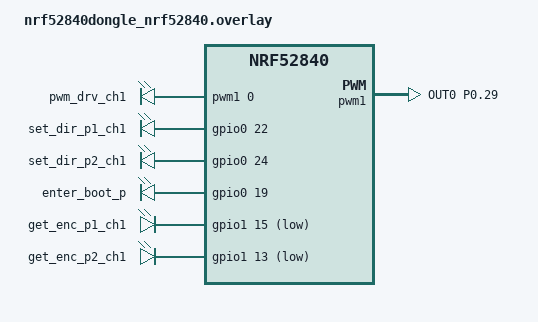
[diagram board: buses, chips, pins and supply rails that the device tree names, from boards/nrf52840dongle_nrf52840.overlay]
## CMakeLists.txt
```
# SPDX-License-Identifier: Apache-2.0

cmake_minimum_required(VERSION 3.20.0)
find_package(Zephyr REQUIRED HINTS $ENV{ZEPHYR_BASE})
project(MotorController)

target_include_directories(app PRIVATE
     "src" "include"
)

file(GLOB SRC_files
     "src/*.c"
)

file(GLOB INC_files
     "include/*.c"
     "include/**/*.c"
)

target_sources(app PRIVATE ${SRC_files} ${INC_files})

if ( CMAKE_COMPILER_IS_GNUCC )
     if ( CMAKE_C_COMPILER_VERSION LESS 13 )
          target_compile_options(app PRIVATE -Wno-unknown-pragmas)
     endif ()
endif ()
```

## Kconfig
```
# SPDX-License-Identifier: Apache-2.0
#
# Copyright (c) 2023 Maciej Baczmanski, Michal Kawiak, Jakub Mazur
#

menu "Motor controller configuration"

config ENC_TIMER_PERIOD_MS
	int "Sampling period for continuous speed and position calculation"
	default 100

config SUPPORTED_CHANNEL_NUMBER
	int "number of motor channels supported by the hardware"
	default 2

rsource "Kconfigs/Kconfig.motor"
rsource "Kconfigs/Kconfig.serial_shell"
rsource "Kconfigs/Kconfig.ble_gatt"
rsource "Kconfigs/Kconfig.templates"

rsource "Kconfigs/Kconfig.speed_cntrl"
rsource "Kconfigs/Kconfig.position_cntrl"

endmenu

source "Kconfig.zephyr"
```

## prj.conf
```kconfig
# SPDX-License-Identifier: Apache-2.0
#
# Copyright (c) 2023 Maciej Baczmanski, Michal Kawiak, Jakub Mazur
#

CONFIG_ASSERT=y
CONFIG_SHELL=y

CONFIG_GPIO=y
CONFIG_PWM=y
CONFIG_PWM_SHELL=n

# For Printk()
CONFIG_PRINTK=y
CONFIG_CONSOLE=y

# NVS
CONFIG_FLASH=y
CONFIG_FLASH_PAGE_LAYOUT=y
CONFIG_NVS=y
CONFIG_MPU_ALLOW_FLASH_WRITE=y

# Communication protocols
CONFIG_UART_SHELL_SUPPORT=y
CONFIG_BT_SUPPORT=y

CONFIG_SPEED_CONTROL_ENABLE=y
CONFIG_POS_CONTROL_ENABLE=y
```

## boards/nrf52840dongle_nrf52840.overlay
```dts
&uart0 {
	status="disabled";
};


/ {
	pwmdrv {
		compatible = "pwm-leds";
		pwm_drv_ch1: pwm_drv_ch1 {
			pwms = <&pwm1 0 PWM_MSEC(20) 0>;
		};
	};

	gpio_pins {
		compatible = "gpio-leds";
		set_dir_p1_ch1: set_dir_p1_ch1 {
			gpios = <&gpio0 22 GPIO_ACTIVE_HIGH>;
		};

		set_dir_p2_ch1: set_dir_p2_ch1 {
			gpios = <&gpio0 24 GPIO_ACTIVE_HIGH>;
		};

		enter_boot_p: enter_boot_p {
			gpios = <&gpio0 19 GPIO_ACTIVE_HIGH>;
		};

		get_enc_p1_ch1: get_enc_p1_ch1 {
			gpios = <&gpio1 15 (GPIO_PULL_UP | GPIO_ACTIVE_LOW)>;
		};

		get_enc_p2_ch1: get_enc_p2_ch1 {
			gpios = <&gpio1 13 (GPIO_PULL_UP | GPIO_ACTIVE_LOW)>;
		};
	};

	aliases {
		pwm-drv-ch1 = &pwm_drv_ch1;
		set-dir-p1-ch1 = &set_dir_p1_ch1;
		set-dir-p2-ch1 = &set_dir_p2_ch1;
		enter-boot-p = &enter_boot_p;
		get-enc-p1-ch1 = &get_enc_p1_ch1;
		get-enc-p2-ch1 = &get_enc_p2_ch1;
	};

};

&pinctrl{
	pwm1_default: pwm1_default {
		group1 {
			psels = <NRF_PSEL(PWM_OUT0, 0, 29)>;
			nordic,invert;
		};
	};
	pwm1_sleep: pwm1_sleep {
		group1 {
			psels = <NRF_PSEL(PWM_OUT0, 0, 29)>;
			low-power-enable;
		};
	};
};

&pwm1 {
	status = "okay";
	pinctrl-0 = <&pwm1_default>;
	pinctrl-1 = <&pwm1_sleep>;
	pinctrl-names = "default", "sleep";

};
```

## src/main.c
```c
// SPDX-License-Identifier: Apache-2.0
// Copyright (c) 2023 Maciej Baczmanski, Michal Kawiak, Jakub Mazur

#include <zephyr/kernel.h>

#include <zephyr/usb/usb_device.h>

#if defined(CONFIG_BT_SUPPORT)
#include "ble_gatt_service.h"
#endif

#include <string.h>

#include "driver.h"
#include "storage.h"

#if defined(CONFIG_UART_SHELL_SUPPORT)
#include <zephyr/drivers/uart.h>
#endif

int main(void)
{
	init_pwm_motor_driver();
#if defined(CONFIG_TEMPLATES_ENABLE)
	struct Template initial_template;
	return_codes_t error = SUCCESS;

	init_storage();
	error = get_current_template(&initial_template);

	if (error == SUCCESS) {// TODO - test it, currently broken by init controller.
		target_speed_set(initial_template.speed, CH0);
	}
#endif

	#if defined(CONFIG_BT_SUPPORT)
	init_bt();
	#endif
}
```

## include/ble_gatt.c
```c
// SPDX-License-Identifier: Apache-2.0
// Copyright (c) 2023 Maciej Baczmanski, Michal Kawiak, Jakub Mazur
// Copyright (c) 2016 Intel Corporation
#if defined(CONFIG_BT_SUPPORT)
// TODO - move define wrappers to CMakeLists. If whole is not to be compiled, make rule in CMAKE

#include "driver.h"
#include "storage.h"
#include <stdlib.h>

#include <zephyr/kernel.h>
#include <zephyr/bluetooth/gatt.h>
#include "ble_gatt_service.h"
#include "return_codes.h"

#define UUID_GENERATOR(val)	BT_UUID_DECLARE_128(BT_UUID_128_ENCODE(val,		\
								       0x37de,		\
								       0x44d4,		\
								       0xbe45,		\
								       0xd1f1fd9385fd))


#define TX_CHAR_UUID_COMMAND		UUID_GENERATOR(0x6e006610)
#define RX_CHAR_UUID_TEMPL_LIST		UUID_GENERATOR(0x6e006620)
#define RX_CHAR_UUID_TEMPL_ACTIVE	UUID_GENERATOR(0x6e006621)
#define RX_CHAR_UUID_SPEED		UUID_GENERATOR(0x6e006622)
#define RX_CHAR_UUID_HW_VER		UUID_GENERATOR(0x6e006623)


//TODO - implement paging for more than 15 templates in the future

#if defined(CONFIG_TEMPLATES_ENABLE)

static ssize_t read_ble_template_list(struct bt_conn *conn, const struct bt_gatt_attr *attr,
			 void *buf, uint16_t len, uint16_t offset)
{
	ssize_t ret;
	char *buffer;
	uint8_t template_count = get_template_size();
	size_t frame_size = template_count * (sizeof(uint32_t) + CONFIG_TEMPLATE_NAME_SIZE) + 4;

	buffer = (char *)calloc(frame_size, sizeof(char));

	buffer[0] = frame_size;
	buffer[1] = 0; //page number
	buffer[2] = (char)template_count;
	buffer[3] = CONFIG_TEMPLATE_NAME_SIZE;

	(void)get_templates((struct Template *)&buffer[4]);

	ret = bt_gatt_attr_read(conn, attr, buf, len, offset, buffer,
				 frame_size);
	free(buffer);
	return ret;
}

static ssize_t read_ble_template_active(struct bt_conn *conn, const struct bt_gatt_attr *attr,
			 void *buf, uint16_t len, uint16_t offset)
{
	struct Template current;
	(void)get_current_template(&current);

	return bt_gatt_attr_read(conn, attr, buf, len, offset, &current,
				 sizeof(current));
}
#endif

static ssize_t read_ble_speed(struct bt_conn *conn, const struct bt_gatt_attr *attr,
			 void *buf, uint16_t len, uint16_t offset)
{
	uint32_t speed_tmp = speed_target_get(CH0);

	return bt_gatt_attr_read(conn, attr, buf, len, offset, &speed_tmp,
				 sizeof(speed_tmp));
}

static ssize_t read_ble_hw_ver(struct bt_conn *conn, const struct bt_gatt_attr *attr,
			 void *buf, uint16_t len, uint16_t offset)
{
	struct DriverVersion tmp_ver = get_driver_version();

	return bt_gatt_attr_read(conn, attr, buf, len, offset, &tmp_ver,
				 sizeof(tmp_ver));
}

uint32_t convertToUint32(uint8_t *bytes)
{
	uint32_t result = 0;

	memcpy(&result, bytes, 4U);

	// swap endianness
	result = ((result << 8) & 0xFF00FF00) | ((result >> 8) & 0xFF00FF);
	return (result << 16) | (result >> 16);
}

static ssize_t write_ble(struct bt_conn *conn, const struct bt_gatt_attr *attr,
			 const void *buf, uint16_t len, uint16_t offset, uint8_t flag)
{
	uint8_t *data = (uint8_t *)buf;
#if defined(CONFIG_TEMPLATES_ENABLE)
	struct Template template;
	char *name;
#endif

	switch (data[0]) {
#if defined(CONFIG_BOARD_NRF52840DONGLE_NRF52840)
	case 0:
		enter_boot();
	break;
#endif
#if defined(CONFIG_SPEED_CONTROL_ENABLE)
	case 1: // set raw speed
		(void)target_speed_set(convertToUint32(data+1U), CH0);
	break;
#endif
#if defined(CONFIG_TEMPLATES_ENABLE)
	case 2: // add template
		name = (char *)(data + 1U);
		strcpy(template.name, name);
		template.speed = convertToUint32(name + CONFIG_TEMPLATE_NAME_SIZE);
		set_template(template);

	break;
	case 3: // delete template
		name = (char *)(data+1U);
		(void)remove_template_by_name(name);
	break;
	case 4: //activate template
		return_codes_t ret;
		uint8_t out_temp; // TODO - necessary?

		ret = get_template_and_id_by_name(data+1U, &template, &out_temp);

		if (ret != SUCCESS) {
			break;
		}

		ret = target_speed_set(template.speed, CH0);

		if (ret != SUCCESS) {
			break;
		}
		set_current_template(template.name);
	break;
#endif
	}
	memset(data, 0, len * (sizeof(data[0])));
	return len;
}


BT_GATT_SERVICE_DEFINE(hrs_svc,
	BT_GATT_PRIMARY_SERVICE(BT_UUID_DECLARE_128(SERVICE_UUID)),
#if defined(CONFIG_TEMPLATES_ENABLE)
	BT_GATT_CHARACTERISTIC(RX_CHAR_UUID_TEMPL_LIST, BT_GATT_CHRC_READ,
			       BT_GATT_PERM_READ,
			       read_ble_template_list, NULL, NULL),
	BT_GATT_CHARACTERISTIC(RX_CHAR_UUID_TEMPL_ACTIVE, BT_GATT_CHRC_READ,
			       BT_GATT_PERM_READ,
			       read_ble_template_active, NULL, NULL),
#endif
	BT_GATT_CHARACTERISTIC(RX_CHAR_UUID_SPEED, BT_GATT_CHRC_READ,
			       BT_GATT_PERM_READ,
			       read_ble_speed, NULL, NULL),
	BT_GATT_CHARACTERISTIC(RX_CHAR_UUID_HW_VER, BT_GATT_CHRC_READ,
			       BT_GATT_PERM_READ,
			       read_ble_hw_ver, NULL, NULL),
	BT_GATT_CHARACTERISTIC(TX_CHAR_UUID_COMMAND, BT_GATT_CHRC_WRITE,
			       BT_GATT_PERM_WRITE,
			       NULL, write_ble, NULL),
);

#endif
```

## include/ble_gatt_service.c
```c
// SPDX-License-Identifier: Apache-2.0
// Copyright (c) 2023 Maciej Baczmanski, Michal Kawiak, Jakub Mazur
// Copyright (c) 2015-2016 Intel Corporation

#if defined(CONFIG_BT_SUPPORT)

#include <zephyr/kernel.h>
#include <zephyr/bluetooth/gatt.h>

#include "ble_gatt_service.h"
static const struct bt_data ad[] = {
	BT_DATA_BYTES(BT_DATA_FLAGS, (BT_LE_AD_GENERAL | BT_LE_AD_NO_BREDR)),
	BT_DATA_BYTES(BT_DATA_UUID128_ALL, SERVICE_UUID)};

static void connected(struct bt_conn *conn, uint8_t err)
{
	if (err) {
		printk("Connection failed (err 0x%02x)\n", err);
	} else {
		printk("Connected\n");
	}
}

static void disconnected(struct bt_conn *conn, uint8_t reason)
{
	printk("Disconnected (reason 0x%02x)\n", reason);
}

BT_CONN_CB_DEFINE(conn_callbacks) = {
	.connected = connected,
	.disconnected = disconnected,
};

static void bt_ready(void)
{
	int err;

	printk("Bluetooth initialized\n");

	err = bt_le_adv_start(BT_LE_ADV_CONN_NAME, ad, ARRAY_SIZE(ad), NULL, 0);
	if (err) {
		printk("Advertising failed to start (err %d)\n", err);
		return;
	}

	printk("Advertising successfully started\n");
}

static void auth_cancel(struct bt_conn *conn)
{
	char addr[BT_ADDR_LE_STR_LEN];

	bt_addr_le_to_str(bt_conn_get_dst(conn), addr, sizeof(addr));

	printk("Pairing cancelled: %s\n", addr);
}

static struct bt_conn_auth_cb auth_cb_display = {
	.cancel = auth_cancel,
};

int init_bt(void)
{
	int err;

	err = bt_enable(NULL);
	if (err) {
		printk("Bluetooth init failed (err %d)\n", err);
		return -1;
	}

	bt_ready();

	bt_conn_auth_cb_register(&auth_cb_display);
	return 0;
}


#endif
```

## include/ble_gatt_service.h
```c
/* SPDX-License-Identifier: Apache-2.0
 *
 * Copyright (c) 2023 Maciej Baczmanski, Michal Kawiak, Jakub Mazur
 *
 * Copyright (c) 2015-2016 Intel Corporation
 *
 */

#if defined(CONFIG_BT_SUPPORT)
#define SERVICE_UUID    BT_UUID_128_ENCODE(0x491ee7f9, 0xb307, 0x4a19, 0x8932, 0x2a8bb514ac46)

int init_bt(void);
#endif
```

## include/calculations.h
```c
/* SPDX-License-Identifier: Apache-2.0
 *
 * Copyright (c) 2024 Maciej Baczmanski, Jakub Mazur
 */

#define DEGREES_PER_ROTATION (360u * CONFIG_POSITION_CONTROL_MODIFIER)
#define DEGREES_PER_HALF_ROTATION (180u * CONFIG_POSITION_CONTROL_MODIFIER)

struct PID_def {
	const uint32_t Kp_numerator;
	const uint32_t Kp_denominator;

	const uint32_t Ki_numerator;
	const uint32_t Ki_denominator;

	const uint32_t Kd_numerator;
	const uint32_t Kd_denominator;

	int32_t i_temp; // error accumulator
	int32_t d_temp; // prev error

	int32_t i_min;
	int32_t i_max;
};

#if defined(CONFIG_SPEED_CONTROL_ENABLE)
struct PID_def PID_spd = {
	.Kp_numerator = CONFIG_KP_NUMERATOR_FOR_SPEED,
	.Kp_denominator = CONFIG_KP_DENOMINATOR_FOR_SPEED,

	.Ki_numerator = 0,
	.Ki_denominator = 1,

	.Kd_numerator = 0,
	.Kd_denominator = 1,

	.i_temp = 0,
	.d_temp = 0,

	.i_min = -1000,
	.i_max = 5000,
};
#endif

#if defined(CONFIG_POS_CONTROL_ENABLE)
struct PID_def PID_spd_for_pos = {
	.Kp_numerator = CONFIG_KP_NUMERATOR_FOR_SPEED_IN_POS,
	.Kp_denominator = CONFIG_KP_DENOMINATOR_FOR_SPEED_IN_POS,

	.Ki_numerator = 0,
	.Ki_denominator = 1,

	.Kd_numerator = 0,
	.Kd_denominator = 1,

	.i_temp = 0,
	.d_temp = 0,

	.i_min = -1000,
	.i_max = 5000,
};

struct PID_def PID_pos = {
	.Kp_numerator = CONFIG_KP_NUMERATOR_FOR_POS,
	.Kp_denominator = CONFIG_KP_DENOMINATOR_FOR_POS,

	.Ki_numerator = 0,
	.Ki_denominator = 1,

	.Kd_numerator = 0,
	.Kd_denominator = 1,

	.i_temp = 0,
	.d_temp = 0,

	.i_min = -500,
	.i_max = 500,
};
#endif

static inline int32_t calculate_pid_from_error(int32_t error, struct PID_def *pid)
{
	int32_t P = ((int32_t)(((int32_t)pid->Kp_numerator * error) /
				(int32_t)pid->Kp_denominator));
	pid->i_temp = pid->i_temp + error;
	if (pid->i_temp < pid->i_min)
		pid->i_temp = pid->i_min;
	if (pid->i_temp < pid->i_max)
		pid->i_temp = pid->i_max;
	int32_t I = ((int32_t)((int32_t)pid->Ki_numerator * pid->i_temp /
			       (int32_t)pid->Ki_denominator));
	int32_t D = ((int32_t)((int32_t)pid->Kd_numerator * (int32_t)(pid->d_temp - error) /
			       (int32_t)pid->Kd_denominator));
	pid->d_temp = error;
	return P + I + D;
}

static inline int32_t calculate_pid(int32_t target_speed, int32_t actual_speed, struct PID_def *pid)
{
	return calculate_pid_from_error((int32_t)(target_speed - actual_speed), pid);
}


/// Unit replacement - interrupt counter to degrees
#define INTERRUPT_COUNT_TO_DEG_DIFF(diff) \
	(int32_t)((diff*(int32_t)DEGREES_PER_ROTATION) /\
		  (CONFIG_ENC_STEPS_PER_ROTATION * CONFIG_GEARSHIFT_RATIO))

/// Calculate new position (int32_t) based on:
/// - previous position (drv_chnls[chnl].curr_pos, uint32_t)
/// - position difference (in degrees, int32_t)
#define CALC_NEW_POS(pos_diff_in_deg, chnl) \
	(int32_t)(((int32_t)drv_chnls[chnl].curr_pos) + pos_diff_in_deg)

/// Wrap position to range 0-360 degree
#define WRAP_POS_TO_RANGE(new_pos) \
	(uint32_t)((new_pos % (int32_t)DEGREES_PER_ROTATION) + \
		   ((new_pos < 0) ? (int32_t)DEGREES_PER_ROTATION : 0))
```

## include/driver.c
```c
// SPDX-License-Identifier: Apache-2.0
// Copyright (c) 2023 Maciej Baczmanski, Michal Kawiak, Jakub Mazur

#include <zephyr/drivers/gpio.h>
#include <zephyr/drivers/pwm.h>
#include <zephyr/types.h>
#include <string.h>
#include <stdlib.h>
#include "return_codes.h"
#include "driver.h"

#include "calculations.h"

/// Unit conversion defines
#define MIN_TO_MS 60000
#define RPM_TO_MRPM 1000

#define PINS_PER_CHANNEL 2

#define MINIMUM_SPEED (CONFIG_SPEED_MAX_MRPM / CONFIG_MIN_SPEED_MODIFIER)

static const struct DriverVersion driver_ver = {
	.major = 2,
	.minor = 5,
};

/// temporary debug only variables: - To be deleted after developemnt is finished!
static uint64_t count_timer;
static int32_t ret_debug = 100;// DEBUG ONLY

#pragma region InternalFunctions// declarations of internal functions
static void enc_callback_wrapper(const struct device *dev, struct gpio_callback *cb, uint32_t pins);
static int speed_pwm_set(uint32_t value, enum ChannelNumber chnl);
static void update_speed_and_position_continuous(struct k_work *work);
static void continuous_calculation_timer_handler(struct k_timer *dummy);
static void enc_callback(enum ChannelNumber chnl, enum PinNumber pin);
static int set_direction_raw(enum MotorDirection direction, enum ChannelNumber chnl);
#pragma endregion InternalFunctions

/// CONTROL MODE - whether speed or position is controlled
static enum ControlModes control_mode;
/// encoder timer - timer is common for both channels
struct k_timer continuous_calculation_timer;
/// driver initialized (Was init function called)?
static bool drv_initialised;

// Struct representing singular channel, including channel - dependent variables
struct DriverChannel {
	/// PINS definitions
	/// motor out
	const struct pwm_dt_spec pwm_motor_driver;
	const struct gpio_dt_spec set_dir_pins[PINS_PER_CHANNEL];
	/// enc in
	const struct gpio_dt_spec enc_pins[PINS_PER_CHANNEL];
	struct gpio_callback enc_cb[PINS_PER_CHANNEL];

	/// ENCODER - variables used for actual speed calculation based on encoder pin and
	// timer interrupts
	// TODO - mutex locking instead of volatile?
	int64_t count_cycles;
	int64_t old_count_cycles;

	/// SPEED control
	uint32_t target_speed_mrpm;// Target set by user
	uint32_t actual_mrpm; // actual speed calculated from encoder pins
	uint32_t speed_control; // PID output -> pwm calculations input

	// TODO - separe target_speed_mrpm and speed_control for position control
	// from speed control!

	/// POSITION control
	uint32_t curr_pos;
	uint32_t target_position;
	uint32_t target_speed_for_pos_cntrl;
	bool target_achieved;
	// bool target_achieved_prev_debug;

	int32_t position_delta; //TEMP
	// I think it can be turned into local variable only in method that uses it?

	bool prev_val_enc[PINS_PER_CHANNEL];
	enum MotorDirection actual_dir;

	/// BOOLS - is motor on?
	bool is_motor_on; // was motor_on function called?
};

static struct DriverChannel drv_chnls[CONFIG_SUPPORTED_CHANNEL_NUMBER] = {
	{
		.pwm_motor_driver =  PWM_DT_SPEC_GET_BY_IDX(DT_ALIAS(pwm_drv), 0),
		.set_dir_pins[P0] = GPIO_DT_SPEC_GET_BY_IDX(DT_ALIAS(set_dir_p1), gpios, 0),
		.set_dir_pins[P1] = GPIO_DT_SPEC_GET_BY_IDX(DT_ALIAS(set_dir_p2), gpios, 0),
		.enc_pins[P0] = GPIO_DT_SPEC_GET_BY_IDX(DT_ALIAS(get_enc_p1), gpios, 0),
		.enc_pins[P1] = GPIO_DT_SPEC_GET_BY_IDX(DT_ALIAS(get_enc_p2), gpios, 0),
		.actual_dir = STOPPED
	},
	#if (CONFIG_SUPPORTED_CHANNEL_NUMBER > 1)
	{
		.pwm_motor_driver =  PWM_DT_SPEC_GET_BY_IDX(DT_ALIAS(pwm_drv), 1),
		.set_dir_pins[P0] = GPIO_DT_SPEC_GET_BY_IDX(DT_ALIAS(set_dir_p1), gpios, 1),
		.set_dir_pins[P1] = GPIO_DT_SPEC_GET_BY_IDX(DT_ALIAS(set_dir_p2), gpios, 1),
		.enc_pins[P0] = GPIO_DT_SPEC_GET_BY_IDX(DT_ALIAS(get_enc_p1), gpios, 1),
		.enc_pins[P1] = GPIO_DT_SPEC_GET_BY_IDX(DT_ALIAS(get_enc_p2), gpios, 1),
		.actual_dir = STOPPED
	}
	#endif
};

#if defined(CONFIG_BOARD_NRF52840DONGLE_NRF52840) // BOOT functionality
static const struct gpio_dt_spec out_boot = GPIO_DT_SPEC_GET(DT_ALIAS(enter_boot_p), gpios);
void enter_boot(void)
{
	gpio_pin_configure_dt(&out_boot, GPIO_OUTPUT);
}
#endif

// Difference from target position and actual position
static inline void calculate_pos_delta(enum ChannelNumber chnl, bool *is_target_behind)
{
	drv_chnls[chnl].position_delta = drv_chnls[chnl].target_position -
					 drv_chnls[chnl].curr_pos;
	// Check if motor should spin backward to get to the target
	// (if target is smalller number than current position)
	if (drv_chnls[chnl].position_delta < 0) {
		drv_chnls[chnl].position_delta =
		-drv_chnls[chnl].position_delta;
		if (is_target_behind != NULL)
			*is_target_behind = true;
	}
}

// function implementations:
#pragma region TimerWorkCallback // timer interrupt internal functions
static void update_speed_and_position_continuous(struct k_work *work)
{
	int64_t diff = 0;

	for (enum ChannelNumber chnl = 0; chnl < CONFIG_SUPPORTED_CHANNEL_NUMBER; ++chnl) {
		count_timer += 1; // debug only

		// count encoder interrupts between timer interrupts:
		diff = drv_chnls[chnl].count_cycles - drv_chnls[chnl].old_count_cycles;
		// if diff is positive, motor is going FWD, else, BCK

		// TODO - add some possibility to "wrap" around int64 limit!

		drv_chnls[chnl].old_count_cycles = drv_chnls[chnl].count_cycles;


		if (diff > 0) {
			drv_chnls[chnl].actual_dir = FORWARD;
		} else if (diff < 0) {
			drv_chnls[chnl].actual_dir = BACKWARD;
		} else {
			drv_chnls[chnl].actual_dir = STOPPED;
		}

		// calculate actual position
		drv_chnls[chnl].curr_pos = WRAP_POS_TO_RANGE(
						CALC_NEW_POS(
							INTERRUPT_COUNT_TO_DEG_DIFF(diff),
							chnl)
						);

		// calculate actual speed
		drv_chnls[chnl].actual_mrpm = RPM_TO_MRPM * MIN_TO_MS * ((uint64_t)llabs(diff)) /
			(CONFIG_ENC_STEPS_PER_ROTATION *
			CONFIG_GEARSHIFT_RATIO *
			CONFIG_ENC_TIMER_PERIOD_MS);

		// if motor is on, calculate control value
		if (get_motor_off_on(chnl)) {
#if defined(CONFIG_SPEED_CONTROL_ENABLE)
			int ret;
			if (control_mode == SPEED) {
				// increase or decrese speed each iteration by Kp * speed_delta
				drv_chnls[chnl].speed_control =
					(uint32_t)(drv_chnls[chnl].speed_control +
						   calculate_pid(
							drv_chnls[chnl].target_speed_mrpm,
							drv_chnls[chnl].actual_mrpm,
							&PID_spd
						   )
						  );

	// TODO - currently, this p(id) is more aggresive if CONFIG_ENC_TIMER_PERIOD_MS is
	// lower. Correct it, make P(ID) only time dependent, not "refresh rate" dependent!

				// Cap control at max rpm speed,
				// to avoid cumulation of too high speeds.
				if (drv_chnls[chnl].speed_control > CONFIG_SPEED_MAX_MRPM) {
					drv_chnls[chnl].speed_control = CONFIG_SPEED_MAX_MRPM;
				}

				ret = speed_pwm_set(drv_chnls[chnl].speed_control, chnl);
			}
#endif
#if defined(CONFIG_POS_CONTROL_ENABLE)
			if (control_mode == POSITION) {
				bool is_target_behind = false;
				uint32_t delta_shortest_path = 0;

				calculate_pos_delta(chnl, &is_target_behind);

				// Set proper spinning direction
				if (drv_chnls[chnl].position_delta < DEGREES_PER_HALF_ROTATION) {
					// If target is closer that 180 degree

					if (!is_target_behind)
						set_direction_raw(FORWARD, chnl);
					else
						set_direction_raw(BACKWARD, chnl);

					delta_shortest_path = drv_chnls[chnl].position_delta;
				} else {
					if (!is_target_behind)
						set_direction_raw(BACKWARD, chnl);
					else
						set_direction_raw(FORWARD, chnl);

					delta_shortest_path = DEGREES_PER_ROTATION -
							      drv_chnls[chnl].position_delta;
				}

				drv_chnls[chnl].target_achieved = is_target_achieved(chnl);

				if (drv_chnls[chnl].target_achieved) {
					// if position_delta is small enough, or large enough that
					// it is actually small "from other side"
					drv_chnls[chnl].target_speed_mrpm = 0;
				} else {
				// Calculate target speed based on the distance from the
				// target position
					int32_t temp = calculate_pid_from_error(delta_shortest_path,
										&PID_pos);

					drv_chnls[chnl].target_speed_for_pos_cntrl =
						(uint32_t)(temp >= 0 ? temp : 0u);

					if (drv_chnls[chnl].target_speed_for_pos_cntrl <
					    MINIMUM_SPEED) {
						drv_chnls[chnl].target_speed_for_pos_cntrl =
							MINIMUM_SPEED;
					}
#if !defined(CONFIG_POS_SOFT_START)
					if (drv_chnls[chnl].target_speed_mrpm == 0) {
					// Initialise speed. If motor is starting, set speed
					// to initial speed.
						drv_chnls[chnl].target_speed_mrpm =
							drv_chnls[chnl].target_speed_for_pos_cntrl;
					} else {
					// Otherwise, if motor is already spinning, then only adjust
					// the speed
#endif

						// If motor is having trouble keeping the speed,
						// or distance has changed
						drv_chnls[chnl].target_speed_mrpm =
						    drv_chnls[chnl].target_speed_mrpm +
						    calculate_pid(
							 drv_chnls[chnl].target_speed_for_pos_cntrl,
							 drv_chnls[chnl].actual_mrpm,
							 &PID_spd_for_pos
						    );
#if !defined(CONFIG_POS_SOFT_START)
					}
#endif

					// Cap the control in range:
					if (drv_chnls[chnl].target_speed_mrpm <
						MINIMUM_SPEED) {
						drv_chnls[chnl].target_speed_mrpm =
							MINIMUM_SPEED;
					}

					if (drv_chnls[chnl].target_speed_mrpm >
						CONFIG_SPEED_MAX_MRPM) {
						drv_chnls[chnl].target_speed_mrpm =
							CONFIG_SPEED_MAX_MRPM;
					}
				}

				ret_debug =
					speed_pwm_set(drv_chnls[chnl].target_speed_mrpm, chnl);
			}
#endif
		}
	}
}
K_WORK_DEFINE(speed_and_position_update_work, update_speed_and_position_continuous);
static void continuous_calculation_timer_handler(struct k_timer *dummy)
{
	k_work_submit(&speed_and_position_update_work);
}
K_TIMER_DEFINE(continuous_calculation_timer, continuous_calculation_timer_handler, NULL);
#pragma endregion TimerWorkCallback

#if defined(CONFIG_POS_CONTROL_ENABLE)
bool is_target_achieved(enum ChannelNumber chnl)
{
	uint32_t delta_shortest_path;

	calculate_pos_delta(chnl, NULL);

	if (drv_chnls[chnl].position_delta < DEGREES_PER_HALF_ROTATION) {
		delta_shortest_path = drv_chnls[chnl].position_delta;
	} else {
		delta_shortest_path = ((int32_t)DEGREES_PER_ROTATION -
					drv_chnls[chnl].position_delta);
	}

	// Range with histeresis is narrower by some percentage, so it can be checked first
	if (delta_shortest_path <=
		((DEGREES_PER_ROTATION * CONFIG_POS_CONTROL_HISTERESIS_PERCENTAGE) /
		(CONFIG_POS_CONTROL_PRECISION_MODIFIER * 100))) {

		return true;
	}

	// Ring between range with histeresis (narrower) and regular range (wider) is accepted only
	// if target was already previously achieved!
	if (drv_chnls[chnl].target_achieved &&
	    (delta_shortest_path <=
			(DEGREES_PER_ROTATION) / (CONFIG_POS_CONTROL_PRECISION_MODIFIER))) {
		return true;
	}

	return false;
}
#endif

// encoder functions
static void enc_callback(enum ChannelNumber chnl, enum PinNumber pin)
{
	if (pin == P0) {
		if (drv_chnls[chnl].prev_val_enc[P0] == drv_chnls[chnl].prev_val_enc[P1]) {
			drv_chnls[chnl].count_cycles--;
		} else {
			drv_chnls[chnl].count_cycles++;
		}
	} else if (pin == P1) {
		if (drv_chnls[chnl].prev_val_enc[P0] == drv_chnls[chnl].prev_val_enc[P1]) {
			drv_chnls[chnl].count_cycles++;
		} else {
			drv_chnls[chnl].count_cycles--;
		}
	}
}

static void enc_callback_wrapper(const struct device *dev, struct gpio_callback *cb, uint32_t pins)
{
	for (int channel = 0; channel < CONFIG_SUPPORTED_CHANNEL_NUMBER; ++channel) {
		for (int pin = 0; pin < PINS_PER_CHANNEL; ++pin) {
			if ((pins & BIT(drv_chnls[channel].enc_pins[pin].pin)) &&
			    dev == drv_chnls[channel].enc_pins[pin].port) {

				drv_chnls[channel].prev_val_enc[pin] =
					gpio_pin_get(dev, drv_chnls[channel].enc_pins[pin].pin);
				enc_callback(channel, pin);
			}
		}
	}
}

// init motor
void init_pwm_motor_driver(void)
{
	for (unsigned int channel = 0; channel < CONFIG_SUPPORTED_CHANNEL_NUMBER; channel++) {

		__ASSERT(device_is_ready(drv_chnls[channel].pwm_motor_driver.dev),
			 "PWM Driver not ready!");

		__ASSERT_EVAL((void) pwm_set_pulse_dt(&(drv_chnls[channel].pwm_motor_driver), 0),
			int r = pwm_set_pulse_dt(&(drv_chnls[channel].pwm_motor_driver), 0),
			!r, "Unable to set PWM!");

		for (uint8_t pin = 0; pin < 2; ++pin) {
			__ASSERT(gpio_is_ready_dt(&(drv_chnls[channel].set_dir_pins[pin])),
				 "Direction Pin %d on channel %d not ready!",
				 pin, channel);

			__ASSERT_EVAL((void) gpio_pin_configure_dt(
							&(drv_chnls[channel].set_dir_pins[pin]),
							GPIO_OUTPUT_LOW),
				int r = gpio_pin_configure_dt(
							&(drv_chnls[channel].set_dir_pins[pin]),
							GPIO_OUTPUT_LOW),
				!r, "Unable to configure direction Pin %d on channel %d!",
				pin, channel);
		}

#if defined(CONFIG_BOARD_NRF52840DONGLE_NRF52840)
		__ASSERT(gpio_is_ready_dt(&out_boot),
			 "GPIO Boot pin not ready!");
#endif

		for (int pin = 0; pin < 2; ++pin) {
			__ASSERT(gpio_is_ready_dt(&(drv_chnls[channel].enc_pins[pin])),
				 "Encoder Pin %d on channel %d not ready!",
				 pin, channel);

			__ASSERT_EVAL((void) gpio_pin_configure_dt(
							&(drv_chnls[channel].enc_pins[pin]),
							GPIO_INPUT),
				int r = gpio_pin_configure_dt(
							&(drv_chnls[channel].enc_pins[pin]),
							GPIO_INPUT),
				!r, "Unable to configure Encoder pin %d on channel %d!",
				pin, channel);

			__ASSERT_EVAL((void) gpio_pin_interrupt_configure_dt(
							&(drv_chnls[channel].enc_pins[pin]),
							GPIO_INT_EDGE_BOTH),
				int r = gpio_pin_interrupt_configure_dt(
							&(drv_chnls[channel].enc_pins[pin]),
							GPIO_INT_EDGE_BOTH),
				!r, "Unable to configure Encoder pin %d on channel %d!",
				pin, channel);

			drv_chnls[channel].prev_val_enc[pin] =
				gpio_pin_get(drv_chnls[channel].enc_pins[pin].port,
							 drv_chnls[channel].enc_pins[pin].pin);

			gpio_init_callback(&(drv_chnls[channel].enc_cb[pin]),
						enc_callback_wrapper,
						BIT(drv_chnls[channel].enc_pins[pin].pin));
			gpio_add_callback(drv_chnls[channel].enc_pins[pin].port,
						&(drv_chnls[channel].enc_cb[pin]));
		}
	}

	k_timer_start(&continuous_calculation_timer, K_MSEC(CONFIG_ENC_TIMER_PERIOD_MS),
		      K_MSEC(CONFIG_ENC_TIMER_PERIOD_MS));

	drv_initialised = true;
}

return_codes_t motor_on(enum MotorDirection direction, enum ChannelNumber chnl)
{
	int ret;

	if (!drv_initialised) {
		return ERR_NOT_INITIALISED;
	}

	// TODO - change direction during spinning

	if (drv_chnls[chnl].is_motor_on) {
		// Motor is already on, no need for starting it again
		return SUCCESS;
	}

	drv_chnls[chnl].speed_control = 0;

	drv_chnls[chnl].count_cycles = 0;
	drv_chnls[chnl].old_count_cycles = 0;

	ret = set_direction_raw(direction, chnl);

	if (ret != SUCCESS) {
		return ret;
	}

	drv_chnls[chnl].is_motor_on = true;

	return SUCCESS;
}
return_codes_t motor_off(enum ChannelNumber chnl)
{
	int ret;

	if (!drv_initialised) {
		return ERR_NOT_INITIALISED;
	}

	if (!drv_chnls[chnl].is_motor_on) {
		// Motor is already off, no need for stopping it again
		return SUCCESS;
	}

	if (drv_initialised) {
		ret = gpio_pin_set_dt(&(drv_chnls[chnl].set_dir_pins[P0]), 0);

		if (ret != 0) {
			return ERR_UNABLE_TO_SET_GPIO;
		}
		ret = gpio_pin_set_dt(&(drv_chnls[chnl].set_dir_pins[P1]), 0);
		if (ret != 0) {
			return ERR_UNABLE_TO_SET_GPIO;
		}
		drv_chnls[chnl].is_motor_on = false;
		return SUCCESS;
	}

	return ERR_NOT_INITIALISED;
}

bool get_motor_off_on(enum ChannelNumber chnl)
{
	return drv_chnls[chnl].is_motor_on;
}

static int set_direction_raw(enum MotorDirection direction, enum ChannelNumber chnl)
{
	int ret;

	if (direction == STOPPED) {
		return ERR_INVALID_ARGUMENT;
	}

	ret = gpio_pin_set_dt(&(drv_chnls[chnl].set_dir_pins[P0]), direction == FORWARD);
	if (ret != 0) {
		return ERR_UNABLE_TO_SET_GPIO;
	}

	ret = gpio_pin_set_dt(&(drv_chnls[chnl].set_dir_pins[P1]), direction != FORWARD);
	if (ret != 0) {
		return ERR_UNABLE_TO_SET_GPIO;
	}
	return SUCCESS;
}

int get_motor_actual_direction(enum ChannelNumber chnl, enum MotorDirection *out_dir)
{
	if (!drv_initialised) {
		return ERR_NOT_INITIALISED;
	}

	*out_dir = drv_chnls[chnl].actual_dir;

	return SUCCESS;
}

static int speed_pwm_set(uint32_t value, enum ChannelNumber chnl)
{
	int ret;

	if (!drv_initialised) {
		return ERR_NOT_INITIALISED;
	}

	if (value > CONFIG_SPEED_MAX_MRPM) {
		return ERR_DESIRED_VALUE_TO_HIGH;
	}

	if (drv_chnls[chnl].target_speed_mrpm < MINIMUM_SPEED) {
		value = 0;
		drv_chnls[chnl].speed_control = 0;
	}

	uint64_t w_1 = drv_chnls[chnl].pwm_motor_driver.period * (uint64_t)value;
	uint32_t w = value != 0 ? (uint32_t)(w_1 / CONFIG_SPEED_MAX_MRPM) : 0;

	ret = pwm_set_pulse_dt(&(drv_chnls[chnl].pwm_motor_driver), w);
	if (ret != 0) {
		return ERR_UNABLE_TO_SET_PWM;
	}

	return SUCCESS;
}
#if defined(CONFIG_SPEED_CONTROL_ENABLE)
return_codes_t target_speed_set(uint32_t value, enum ChannelNumber chnl)
{
	if (control_mode != SPEED) {
		return ERR_UNSUPPORTED_FUNCTION_IN_CURRENT_MODE;
	}
	drv_chnls[chnl].target_speed_mrpm = value;

	drv_chnls[chnl].count_cycles = 0;
	drv_chnls[chnl].old_count_cycles = 0;

	return SUCCESS;
}
#endif
return_codes_t speed_get(enum ChannelNumber chnl, uint32_t *value)
{
	if (drv_initialised) {
		*value = drv_chnls[chnl].actual_mrpm;
		return SUCCESS;
	}

	return ERR_NOT_INITIALISED;
}
uint32_t speed_target_get(enum ChannelNumber chnl)
{
	return drv_chnls[chnl].target_speed_mrpm;
}
uint32_t get_current_max_speed(void)
{
	return CONFIG_SPEED_MAX_MRPM;
}

#if defined(CONFIG_POS_CONTROL_ENABLE)
return_codes_t target_position_set(int32_t new_target_position, enum ChannelNumber chnl)
{
	if (!drv_initialised) {
		return ERR_NOT_INITIALISED;
	}

	if (control_mode != POSITION) {
		return ERR_UNSUPPORTED_FUNCTION_IN_CURRENT_MODE;
	}

	drv_chnls[chnl].target_position = WRAP_POS_TO_RANGE(new_target_position);

	drv_chnls[chnl].target_achieved = is_target_achieved(chnl);

	drv_chnls[chnl].target_speed_for_pos_cntrl = 0;
	drv_chnls[chnl].target_speed_mrpm = 0;


	return SUCCESS;
}
#endif

return_codes_t position_get(uint32_t *value, enum ChannelNumber chnl)
{
	if (!drv_initialised) {
		return ERR_NOT_INITIALISED;
	}

	if (drv_chnls[chnl].curr_pos == DEGREES_PER_ROTATION) {
		// TODO - remove this when continuus update will treat 360 as 0 as it should!
		*value = 0u;
		return SUCCESS;
	}

	*value = drv_chnls[chnl].curr_pos;
	return SUCCESS;
}

return_codes_t mode_set(enum ControlModes new_mode)
{
	if (!drv_initialised) {
		return ERR_NOT_INITIALISED;
	}

	control_mode = new_mode;
	return SUCCESS;
}
return_codes_t mode_get(enum ControlModes *value)
{
	if (!drv_initialised) {
		return ERR_NOT_INITIALISED;
	}

	*value = control_mode;
	return SUCCESS;
}

#if defined(CONFIG_POS_CONTROL_ENABLE)
return_codes_t position_reset_zero(enum ChannelNumber chnl)
{
	if (!drv_initialised) {
		return ERR_NOT_INITIALISED;
	}

	if (control_mode != POSITION) {
		return ERR_UNSUPPORTED_FUNCTION_IN_CURRENT_MODE;
	}

	if (drv_chnls[chnl].actual_dir != STOPPED) {
		return ERR_MOTOR_SHOULD_BE_STATIONARY;
	}

	drv_chnls[chnl].curr_pos = 0;
	drv_chnls[chnl].target_position = 0;

	return SUCCESS;
}
#endif

#pragma region DebugFunctions
uint64_t get_cycles_count_DEBUG(void)
{
	return drv_chnls[CH0].target_speed_for_pos_cntrl;
}

uint64_t get_time_cycles_count_DEBUG(void)
{
	return drv_chnls[CH0].target_speed_mrpm;
}

int32_t get_ret_DEBUG(void)
{
	return ret_debug;
}

uint32_t get_calc_speed_DEBUG(void)
{
	return drv_chnls[CH0].speed_control;
}

uint32_t get_target_pos_DEBUG(void)
{
	return drv_chnls[CH0].target_position;
}

int32_t get_pos_d_DEBUG(void)
{
	return drv_chnls[CH0].position_delta;
}
#pragma endregion DebugFunctions

struct DriverVersion get_driver_version(void)
{
	return driver_ver;
}
```

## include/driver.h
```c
/* SPDX-License-Identifier: Apache-2.0
 *
 * Copyright (c) 2023 Maciej Baczmanski, Michal Kawiak, Jakub Mazur
 */
#pragma once

#include <zephyr/kernel.h>
#include "return_codes.h"


/// @brief motor direction definitions
enum MotorDirection {
	STOPPED,
	FORWARD,
	BACKWARD
};

/// @brief Control Mode - whether excact speed or position is controlled
enum ControlModes {
#if defined(CONFIG_SPEED_CONTROL_ENABLE)
	SPEED,
#endif
#if defined(CONFIG_POS_CONTROL_ENABLE)
	POSITION
#endif
};

static const char * const mode_names[] = {
#if defined(CONFIG_SPEED_CONTROL_ENABLE)
	[SPEED] = "Speed",
#endif
#if defined(CONFIG_POS_CONTROL_ENABLE)
	[POSITION] = "Position"
#endif
};

/// @brief struct representing current software version
struct DriverVersion {
	uint8_t major;
	uint8_t minor;
};

enum ChannelNumber {
	CH0,
	CH1
};

// TODO add preprocessor check for max supported channels (currently only CH0 and CH1)

enum PinNumber {
	P0,
	P1
};

/// @brief Function initalising PWMs (drivers) and GPIOs.
/// @param speed_max_mrpm - max speed defined in mili RPM
void init_pwm_motor_driver(void);

/// @brief Set new desired (targeted) speed AND set the pwm
/// @param value - value in mili RPM
/// @return error defined in return_codes.h
return_codes_t target_speed_set(uint32_t value, enum ChannelNumber chnl);

/// @brief Get current actual speed (from encoders)  - TODO - implement with encoders
/// @param value - variable to save speed
/// @return error defined in return_codes.h
return_codes_t speed_get(enum ChannelNumber chnl, uint32_t *value);

/// @brief Turn motor on in proper direction, without modyfing target speed or set pwm output.
/// @param direction - FORWARD or BACKWARD
/// @return error defined in return_codes.h
return_codes_t motor_on(enum MotorDirection direction, enum ChannelNumber chnl);

/// @brief Turn motor off, without modyfing pwm output
/// @return error defined in return_codes.h
return_codes_t motor_off(enum ChannelNumber chnl);

/// @brief Simple getter for max speed (set by init_pwm_motor_driver)
/// @return max speed in mili RPM
uint32_t get_current_max_speed(void);

/// @brief Simple getter for current motor state (off or on)
/// @return true - motor is on; false - motor is off
bool get_motor_off_on(enum ChannelNumber chnl);

/// @brief getter for spinning direction calculated based on encoder feedback
/// @param  channel number for direction
/// @param  output - spinning direction
/// @return code defined in return_codes.h
int get_motor_actual_direction(enum ChannelNumber chnl, enum MotorDirection *out_dir);

/// @brief Simple getter for firmware software version
/// @return DriverVersion struct of major and minor version
struct DriverVersion get_driver_version(void);

/// @brief Simple getter for target speed set with target_speed_set function
/// @return uint32_t representing target speed.
uint32_t speed_target_get(enum ChannelNumber chnl);

/// @brief utility function for converting control mode as string to control mode as proper enum
/// @param str_control_mode control mode as string
/// @param ret_value output - control mode as control mode enum
/// @return error defined in return_codes.h
return_codes_t get_control_mode_from_string(char *str_control_mode, enum ControlModes *ret_value);

/// @brief utility function for converting control mode from enum to string
/// @param control_mode control mode as enum
/// @param ret_value output - control mode as string
/// @return error defined in return_codes.h
return_codes_t get_control_mode_as_string(enum ControlModes control_mode, char **ret_value);

return_codes_t target_position_set(int32_t new_target_position, enum ChannelNumber chnl);

#if defined(CONFIG_POS_CONTROL_ENABLE)
bool is_target_achieved(enum ChannelNumber chnl);
#endif

return_codes_t position_get(uint32_t *value, enum ChannelNumber chnl);

return_codes_t mode_set(enum ControlModes new_mode);

return_codes_t mode_get(enum ControlModes *value);

/// @brief reset zero position to current position.
/// @param chnl - channel, for which should it be reset
/// @return error defined in return_codes.h
return_codes_t position_reset_zero(enum ChannelNumber chnl);

#if defined(CONFIG_BOARD_NRF52840DONGLE_NRF52840)
/// @brief Enter bootloader mode (in order to flash new software via nRF connect programmer)
void enter_boot(void);
#endif

uint64_t get_cycles_count_DEBUG(void);
uint64_t get_time_cycles_count_DEBUG(void);
int32_t get_ret_DEBUG(void);
uint32_t get_calc_speed_DEBUG(void);
uint32_t get_target_pos_DEBUG(void);
int32_t get_pos_d_DEBUG(void);
```

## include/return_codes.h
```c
/* SPDX-License-Identifier: Apache-2.0
 *
 * Copyright (c) 2024 Maciej Baczmanski, Michal Kawiak, Jakub Mazur
 */
#pragma once

typedef enum {
	SUCCESS = 0,

	// Minor Errors (range 1-15) - Can happen during normal operation
	ERR_UNSUPPORTED_FUNCTION_IN_CURRENT_MODE = 1,
	ERR_DESIRED_VALUE_TO_HIGH = 2,
	ERR_TOO_MANY_TEMPLATES_DEFINED = 3,
	ERR_COULDNT_FIND_TEMPLATE = 4,
	ERR_EMPTY_TEMPLATE_LIST = 5,
	ERR_MOTOR_SHOULD_BE_STATIONARY = 5,

	// Critical errors (16+) - Are result of serious hardware issue
	ERR_NOT_INITIALISED = 16,

	ERR_UNABLE_TO_SET_PWM = 17,
	ERR_UNABLE_TO_SET_GPIO = 18,

	ERR_VALUE_CONVERSION_ERROR = 19,

	ERR_ERROR_CODE_FROM_ERRNO = 20,
	ERR_NOTHING_WRITTEN_DURING_NVS_WRITE = 21,
	ERR_NOTHING_READ_DURING_NVS_READ = 22,

	ERR_INVALID_ARGUMENT = 23
} return_codes_t;
```

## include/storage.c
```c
// SPDX-License-Identifier: Apache-2.0
// Copyright (c) 2024 Maciej Baczmanski, Jakub Mazur

#include <zephyr/kernel.h>
#include <zephyr/device.h>
#include <string.h>
#include <zephyr/drivers/flash.h>
#include <zephyr/storage/flash_map.h>
#include <zephyr/fs/nvs.h>
#include <zephyr/sys/__assert.h>

#include "storage.h"

// TODO - correct all errno return var names to common, eg. errno_error or something like that
// TODO - correct all "our" return codes var names to common ret or something like that

#define NVS_PARTITION		storage_partition
#define NVS_PARTITION_DEVICE	FIXED_PARTITION_DEVICE(NVS_PARTITION)
#define NVS_PARTITION_OFFSET	FIXED_PARTITION_OFFSET(NVS_PARTITION)

#define ALLOC_SIZE_ID 1
#define CURRENT_TEMPLATE_ID 2
#define TEMPLATES_START_ID 3

static struct nvs_fs fs;

static uint8_t alloc_size;

static char current_template[CONFIG_TEMPLATE_NAME_SIZE];

static bool initialized;

#pragma region ErrorManagement
static int errno_error_code;
static unsigned int errnor_error_line;

static void handle_errno_error(int error, unsigned int line_no)
{
	errno_error_code = error;
	errnor_error_line = line_no;
}
int get_errno_error_code(void)
{
	return errno_error_code;
}
unsigned int get_errno_error_line(void)
{
	return errnor_error_line;
}
#pragma endregion ErrorManagement

void init_storage(void)
{
	int rc = 0;
	struct flash_pages_info info;

	fs.flash_device = NVS_PARTITION_DEVICE;
	__ASSERT(device_is_ready(fs.flash_device),
		 "Flash device %s is not ready\n",
		 fs.flash_device->name);

	fs.offset = NVS_PARTITION_OFFSET;

	__ASSERT_EVAL((void)flash_get_page_info_by_offs(fs.flash_device, fs.offset, &info),
			int error = flash_get_page_info_by_offs(fs.flash_device, fs.offset, &info),
			!error, "Unable to get page info");

	fs.sector_size = info.size;
	fs.sector_count = 3U;

	__ASSERT_EVAL((void)nvs_mount(&fs), int error = nvs_mount(&fs),
		      !error, "Flash Init failed");

	rc = nvs_read(&fs, ALLOC_SIZE_ID, &alloc_size, sizeof(uint8_t));
	if (rc <= 0) {
		alloc_size = 0;
		(void)nvs_write(&fs, ALLOC_SIZE_ID, &alloc_size, sizeof(uint8_t));
	}

	nvs_read(&fs, CURRENT_TEMPLATE_ID, current_template,
		 CONFIG_TEMPLATE_NAME_SIZE * sizeof(char));

	initialized = true;
}

uint8_t get_template_size(void)
{
	return alloc_size;
}

return_codes_t set_template(struct Template new_template)
{
	if (!initialized) {
		return ERR_NOT_INITIALISED;
	}

	struct Template tmp_template;
	uint8_t idx;
	return_codes_t error_get_template;
	int error_write;

	// Get template index from name.
	error_get_template = get_template_and_id_by_name(new_template.name, &tmp_template, &idx);
	if (error_get_template == SUCCESS) { // if index exists:
		error_write = nvs_write(&fs, idx + TEMPLATES_START_ID, // write new template
				&new_template, sizeof(struct Template));
		if (error_write < 0) {
			handle_errno_error(error_write, __LINE__);
			return ERR_ERROR_CODE_FROM_ERRNO;
		}
		if (error_write == 0) {
			return ERR_NOTHING_WRITTEN_DURING_NVS_WRITE;
		}

	} else if (error_get_template == ERR_COULDNT_FIND_TEMPLATE ||
		   error_get_template == ERR_EMPTY_TEMPLATE_LIST) {
		   // if new index needs to be created

		if (alloc_size >= 254) {
			return ERR_TOO_MANY_TEMPLATES_DEFINED;
			// TODO - define max amount of templates in kconfig with range 1- 254
		}

		error_write = nvs_write(&fs, alloc_size + TEMPLATES_START_ID,
				&new_template, sizeof(struct Template));

		if (error_write < 0) {
			handle_errno_error(error_write, __LINE__);
			return ERR_ERROR_CODE_FROM_ERRNO;
		}
		// TODO - sometimes error_write == 0 is expected when overwritin values?

		alloc_size++;
		error_write = nvs_write(&fs, ALLOC_SIZE_ID, &alloc_size, sizeof(uint8_t));

		if (error_write < 0) {
			handle_errno_error(error_write, __LINE__);
			return ERR_ERROR_CODE_FROM_ERRNO;
		}
		// TODO - sometimes error_write == 0 is expected when overwritin values?
	} else {
		return error_get_template;
	}

	return SUCCESS;
}

return_codes_t get_templates(struct Template *templates)
{
	if (!initialized) {
		return ERR_NOT_INITIALISED;
	}
	if (alloc_size == 0) {
		return ERR_EMPTY_TEMPLATE_LIST;
	}

	int error;

	for (int i = 0; i < alloc_size; i++) {
		error = nvs_read(&fs, i + TEMPLATES_START_ID,
			       &(templates[i]), sizeof(struct Template));

		if (error < 0) {
			handle_errno_error(error, __LINE__);
			return ERR_ERROR_CODE_FROM_ERRNO;
		}
		if (error == 0) {
			return ERR_NOTHING_READ_DURING_NVS_READ;
		}
	}
	return SUCCESS;
}

return_codes_t get_template_and_id_by_name(char *name, struct Template *result, uint8_t *out_id)
{
	if (!initialized) {
		return ERR_NOT_INITIALISED;
	}
	if (alloc_size == 0) {
		return ERR_EMPTY_TEMPLATE_LIST;
	}

	int error;

	for (int i = 0; i < alloc_size; i++) {
		error = nvs_read(&fs, i + TEMPLATES_START_ID, result, sizeof(struct Template));
		if (strcmp(name, result->name) == 0) {
			if (error < 0) {
				handle_errno_error(error, __LINE__);
				return ERR_ERROR_CODE_FROM_ERRNO;
			}

			if (error == 0) {
				return ERR_NOTHING_READ_DURING_NVS_READ;
			}

			if (out_id != NULL) {
				*out_id = i;
			}
			return SUCCESS;
		}
	}

	return ERR_COULDNT_FIND_TEMPLATE;
}

return_codes_t get_current_template(struct Template *result)
{
	if (!initialized) {
		return ERR_NOT_INITIALISED;
	}
	//TODO - what if speed was set outside of template?
	//(apply template -> set speed -> get current template)
	uint8_t idx; // TODO - turn it to NULL?
	// TODO - additional error check if we are outside of template.
	return get_template_and_id_by_name(current_template, result, &idx);
}

return_codes_t set_current_template(char *name)
{
	int error;

	if (!initialized) {
		return ERR_NOT_INITIALISED;
	}

	strcpy(current_template, name);
	// TODO - also check, if there is any current template applied
	// if not, there is nothing to set, so return error
	error = nvs_write(&fs, CURRENT_TEMPLATE_ID, current_template,
		  CONFIG_TEMPLATE_NAME_SIZE * sizeof(char));

	if (error < 0) {
		handle_errno_error(error, __LINE__);
		return ERR_ERROR_CODE_FROM_ERRNO;
	}
	if (error == 0) {
		return ERR_NOTHING_WRITTEN_DURING_NVS_WRITE;
	}

	return SUCCESS;
}

return_codes_t remove_template_by_name(char *name)
{
	struct Template template_to_remove;
	uint8_t idx;
	return_codes_t ret;

	if (!initialized) {
		return ERR_NOT_INITIALISED;
	}
	if (alloc_size == 0) {
		return ERR_EMPTY_TEMPLATE_LIST;
	}

	ret = get_template_and_id_by_name(name, &template_to_remove, &idx);
	if (ret == SUCCESS) {
		if (idx < alloc_size - 1) {
			struct Template last;
			int error_errno;

			error_errno = nvs_read(&fs, alloc_size + TEMPLATES_START_ID - 1,
						   &last, sizeof(struct Template));
			if (error_errno < 0) {
				handle_errno_error(error_errno, __LINE__);
				return ERR_ERROR_CODE_FROM_ERRNO;
			}
			if (error_errno == 0) {
				return ERR_NOTHING_READ_DURING_NVS_READ;
			}

			error_errno = nvs_write(&fs, idx + TEMPLATES_START_ID,
							&last, sizeof(struct Template));
			if (error_errno < 0) {
				handle_errno_error(error_errno, __LINE__);
				return ERR_ERROR_CODE_FROM_ERRNO;
			}
			if (error_errno == 0) {
				return ERR_NOTHING_WRITTEN_DURING_NVS_WRITE;
			}
		}
		alloc_size--;
		(void)nvs_write(&fs, ALLOC_SIZE_ID, &alloc_size, sizeof(uint8_t));
	} else {
		return ret;
	}

	return SUCCESS;

	//TODO - also remove current template if applicable (current template is one being removed)
}

return_codes_t factory_reset(void)
{
	if (alloc_size == 0) {
		return ERR_EMPTY_TEMPLATE_LIST;
	}

	int error;
	alloc_size = 0;
	current_template[0] = '\0';
	error = nvs_write(&fs, ALLOC_SIZE_ID, &alloc_size, sizeof(uint8_t));
	if (error < 0) {
		handle_errno_error(error, __LINE__);
		return ERR_ERROR_CODE_FROM_ERRNO;
	}
	if (error == 0) {
		return ERR_NOTHING_WRITTEN_DURING_NVS_WRITE;
	}

	error = nvs_write(&fs, CURRENT_TEMPLATE_ID, current_template,
		  CONFIG_TEMPLATE_NAME_SIZE * sizeof(char));

	if (error < 0) {
		handle_errno_error(error, __LINE__);
		return ERR_ERROR_CODE_FROM_ERRNO;
	}
	if (error == 0) {
		return ERR_NOTHING_WRITTEN_DURING_NVS_WRITE;
	}

	return SUCCESS;
}
```

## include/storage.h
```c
/* SPDX-License-Identifier: Apache-2.0
 *
 * Copyright (c) 2024 Maciej Baczmanski, Jakub Mazur
 */
#if defined(CONFIG_TEMPLATES_ENABLE)
#include "return_codes.h"

// TODO - make template scallable from KConfig
// (What should be included in template and what shouldn't)
struct Template {
	char name[CONFIG_TEMPLATE_NAME_SIZE];
	uint32_t speed;
};
// TODO - new feature, kconfig possibility for continuus template saving (whatever is currently
// in template), so that last template will load on startup (will it kill NVM?)
// TODO - another new, simplier feature - quick command that saves current setup to template.
// TODO - docstrings and order of functions

return_codes_t get_templates(struct Template *templates);
return_codes_t get_template_and_id_by_name(char *name, struct Template *result, uint8_t *out_id);
return_codes_t set_template(struct Template new_template);
uint8_t get_template_size(void);
return_codes_t remove_template_by_name(char *name);

void init_storage(void);
return_codes_t factory_reset(void);

return_codes_t get_current_template(struct Template *result);
return_codes_t set_current_template(char *name);

int get_errno_error_code(void);
unsigned int get_errno_error_line(void);
#endif
```
